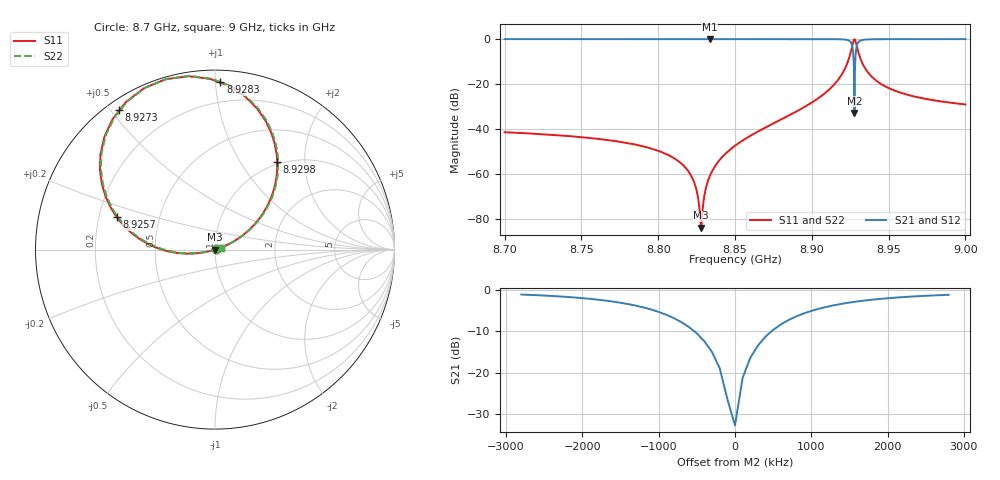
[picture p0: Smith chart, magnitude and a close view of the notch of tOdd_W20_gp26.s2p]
! Sonnet Data File
! From: emgraph Version : 16.52
! From Emgraph Data: transmon_trial2
! Data File Written: 10/20/2017 09:49:24
!< HDATE 10/20/2017 09:16:47
!< MDATE 10/20/2017 09:16:47
!< PARAMS
!< Lj = 15.24
!< Gap = 26.0
!< Width = 20.0
!< Pwidth = 2000.0
!< END PARAMS
# GHZ S MA R 38.50000
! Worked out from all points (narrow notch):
!   3001 points, 8.7 GHz to 9 GHz, reference 38.5 ohm
!   highest |S21| = 0.00 dB at 8.8334 GHz (marker M1); lowest = -32.8 dB at 8.9278 GHz (marker M2)
!   notch at M2: 32.8 dB deep, 467 kHz wide at half that depth
!   lowest |S11| = -83.7 dB at 8.8279 GHz (marker M3), VSWR 1.00, Z = 38.5 - j0.00464 ohm
!   |S11| at or under -10 dB: start of sweep to 8.9235 GHz; 8.9325 GHz to end of sweep
!   |S22| runs from -84.1 to -0.1 dB; largest |S21 - S12| = 0
!   S11 on the Smith chart (normalised r, x): 8.7 GHz: 1.02, +0.01; 8.9257 GHz: 0.28, +0.15; 8.9273 GHz: 0.04, +0.52; 8.9283 GHz: 0.07, +1.03; 8.9298 GHz: 0.97, +1.47; 9 GHz: 1.07, +0.02
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8.7  0.008557 19.3  1 -70.6  1 -70.6  0.008557 19.5
!< P1 F=8.7 Eeff=(4.9947984 -5.8807e-5) Z0=(38.4974817 -1.2545e-4) R=0.0 C=0.0
!< P2 F=8.7 Eeff=(4.9947984 -5.8807e-5) Z0=(38.4974817 -1.2545e-4) R=0.0 C=0.0
8.75  0.006656 18.6  1 -71.1  1 -71.1  0.006656 19.1
8.8  0.003307 17.4  1 -71.7  1 -71.7  0.003307 19.0
8.8119  0.002092 16.6  1 -71.9  1 -71.9  0.002092 19.5
8.8197  0.001152 15.1  1 -72.0  1 -72.0  0.001152 20.8
8.824  0.0005754 11.7  1 -72.1  1 -72.1  0.0005752 23.8
8.8279  6.505e-05 -68.0  1 -72.1  1 -72.1  6.259e-05 103.5
8.8334  0.0008772 -157.7  1 -72.2  1 -72.2  0.000877 -166.7
8.8398  0.002036 -160.2  1 -72.3  1 -72.3  0.002036 -164.4
8.85  0.004278 -161.4  1 -72.6  1 -72.6  0.004278 -163.7
8.9  0.03893 -164.6  0.9992 -75.0  0.9992 -75.0  0.03893 -165.4
8.9173  0.1269 -169.9  0.9917 -80.2  0.9917 -80.2  0.1269 -170.6
8.9235  0.3176 178.7  0.9469 -91.4  0.9469 -91.4  0.3176 178.0
8.9257  0.5753 161.8  0.813 -108.1  0.813 -108.1  0.5753 161.1
8.9273  0.9436 124.7  0.2981 -143.5  0.2981 -143.5  0.9436 124.1
8.9278  0.9884 106.2  0.02281 -14.1  0.02281 -14.1  0.9884 105.6
8.9283  0.9336 88.1  0.3292 -4.0  0.3292 -4.0  0.9336 87.5
8.9298  0.5985 54.6  0.7962 -36.2  0.7962 -36.2  0.5985 53.9
8.9316  0.3751 39.6  0.9253 -51.0  0.9253 -51.0  0.3751 39.0
8.9343  0.2368 31.1  0.971 -59.3  0.971 -59.3  0.2368 30.5
8.95  0.08184 21.9  0.9966 -68.5  0.9966 -68.5  0.08184 21.3
9  0.03546 18.7  0.9994 -71.5  0.9994 -71.5  0.03546 18.3
